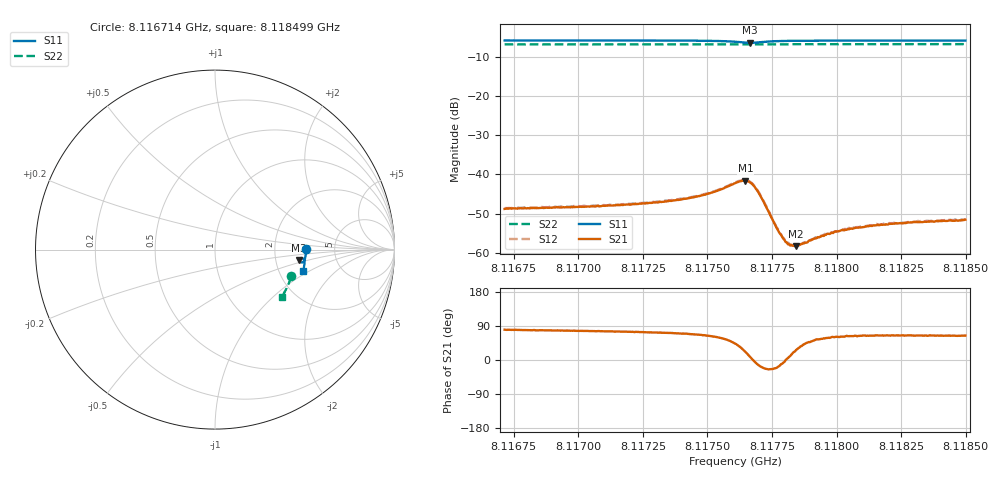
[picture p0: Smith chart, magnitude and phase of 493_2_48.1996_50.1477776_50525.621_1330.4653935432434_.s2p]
#  HZ  S  RI  R  50.00
! Rohde & Schwarz Vector Network Analyzer
! Rohde-Schwarz,ZNB20-2Port,1311601062101988,3.16
! Created: UTC 3/20/2024, 11:58:09 AM
! freq[Hz]  re:S11  im:S11  re:S21  im:S21  re:S12  im:S12  re:S22  im:S22
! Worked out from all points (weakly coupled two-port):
!   401 points, 8.116714 GHz to 8.118499 GHz, reference 50 ohm
!   highest |S21| = -41.55 dB at 8.117647 GHz (marker M1); lowest = -58.2 dB at 8.117843 GHz (marker M2)
!   lowest |S11| = -6.5 dB at 8.117665 GHz (marker M3), VSWR 2.79, Z = 136 - j20.5 ohm
!   |S11| at or under -10 dB: nowhere
!   |S22| runs from -6.9 to -6.8 dB; largest |S21 - S12| = 0.00023
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8.1167142e9  0.5069 0.00572  0.000631 0.00359  0.000682 0.00367  0.425 -0.1494
8.1170132e9  0.5061 -0.0173  0.000887 0.00377  0.000915 0.00383  0.4185 -0.1693
8.1173121e9  0.5035 -0.0421  0.00136 0.00424  0.00141 0.00433  0.4109 -0.1888
8.1173924e9  0.502 -0.0493  0.00162 0.0045  0.0017 0.0046  0.4087 -0.1939
8.1174772e9  0.4994 -0.058  0.00218 0.00494  0.00229 0.00501  0.4062 -0.1995
8.1175486e9  0.4941 -0.0663  0.00333 0.00547  0.00345 0.00554  0.404 -0.204
8.1176066e9  0.4831 -0.0717  0.00561 0.00534  0.00578 0.00542  0.4019 -0.2077
8.1176468e9  0.4714 -0.0657  0.00779 0.00305  0.00796 0.00312  0.4001 -0.2098
8.1176646e9  0.4693 -0.0584  0.00783 0.00119  0.00803 0.00115  0.3996 -0.2104
8.1176824e9  0.4722 -0.0514  0.00697 -0.000535  0.00712 -0.000599  0.3993 -0.2113
8.1177003e9  0.4781 -0.0473  0.0055 -0.00145  0.00564 -0.00155  0.3992 -0.2121
8.1177672e9  0.4939 -0.053  0.00197 -0.000751  0.002 -0.000759  0.3979 -0.2167
8.1177895e9  0.4961 -0.0565  0.00158 -0.000273  0.00158 -0.000278  0.3972 -0.2182
8.1178118e9  0.4973 -0.0598  0.00129 0.000121  0.00136 9.86e-05  0.3965 -0.2197
8.1178297e9  0.498 -0.0622  0.00119 0.000383  0.00119 0.000372  0.3959 -0.2208
8.1178431e9  0.4983 -0.0639  0.0011 0.000547  0.00113 0.000566  0.3957 -0.2217
8.1179055e9  0.4988 -0.071  0.000957 0.00113  0.000974 0.00114  0.3936 -0.2256
8.1179412e9  0.4989 -0.0747  0.000921 0.00136  0.000951 0.00137  0.3924 -0.228
8.1180171e9  0.4983 -0.0818  0.000922 0.00172  0.000938 0.00175  0.39 -0.2328
8.1181242e9  0.497 -0.0907  0.00097 0.00197  0.000989 0.00202  0.3862 -0.2393
8.1182045e9  0.4958 -0.0972  0.00101 0.00212  0.00108 0.00216  0.3836 -0.2442
8.118499e9  0.4907 -0.1198  0.00115 0.0024  0.0012 0.00242  0.3728 -0.2618
